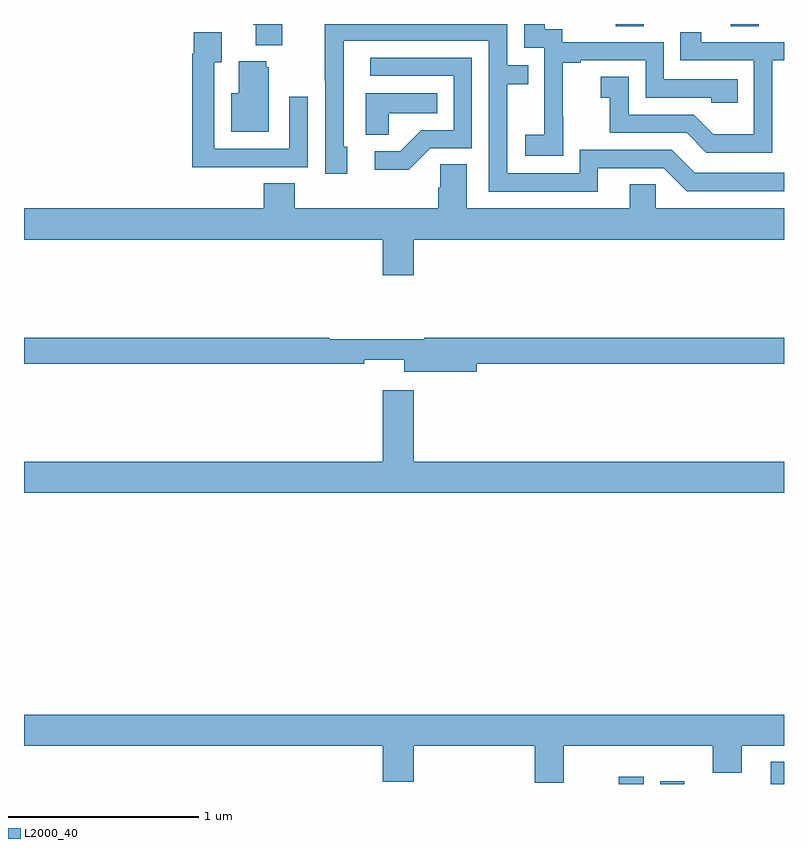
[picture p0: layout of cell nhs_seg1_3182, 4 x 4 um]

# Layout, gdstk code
import gdstk
lib = gdstk.Library(unit=1e-6, precision=1e-09)
def R(c, l, rs):  # rectangles x0, y0, x1, y1
    for r in rs: c.add(gdstk.rectangle(r[:2], r[2:], *l))
def P(c, l, *ps):  # polygons
    for p in ps: c.add(gdstk.Polygon(p, *l))
L2000_40 = (2000, 40)

nhs_seg1_3182 = lib.new_cell('nhs_seg1_3182')
R(nhs_seg1_3182, L2000_40, [(286.13,550.199,286.261,550.237), (286.349,550.199,286.474,550.213), (286.931,550.199,287,550.315), (286.115,554.188,286.263,554.199), (286.72,554.188,286.867,554.199)])
P(nhs_seg1_3182, L2000_40, [(285.837,553.711),(285.836,553.711),(285.836,553.995),(285.931,553.995),(285.931,554.007),(286.272,554.007),(286.272,553.812),(286.617,553.812),(286.617,553.785),(286.757,553.785),(286.757,553.908),(286.368,553.908),(286.368,554.103),(285.834,554.103),(285.834,554.172),(285.742,554.172),(285.742,554.199),(285.633,554.199),(285.633,554.073),(285.738,554.073),(285.738,553.844),(285.737,553.844),(285.737,553.615),(285.639,553.615),(285.639,553.505),(285.837,553.505)],
  [(286.021,553.44),(286.368,553.44),(286.488,553.32),(287,553.32),(287,553.416),(286.53,553.416),(286.41,553.536),(285.924,553.536),(285.924,553.413),(285.543,553.413),(285.543,553.882),(285.653,553.882),(285.653,553.983),(285.543,553.983),(285.543,554.199),(284.584,554.199),(284.584,553.903),(284.586,553.903),(284.586,553.41),(284.701,553.41),(284.701,553.554),(284.682,553.554),(284.682,554.112),(285.447,554.112),(285.447,553.317),(286.021,553.317)],
  [(284.359,554.199),(284.207,554.199),(284.207,554.194),(284.219,554.194),(284.219,554.087),(284.359,554.087)],
  [(284.177,553.446),(284.493,553.446),(284.493,553.816),(284.397,553.816),(284.397,553.542),(284.001,553.542),(284.001,553.999),(284.041,553.999),(284.041,554.155),(283.893,554.155),(283.893,554.042),(283.885,554.042),(283.885,553.445),(284.177,553.445)],
  [(286.938,554.007),(287,554.007),(287,554.103),(286.564,554.103),(286.564,554.155),(286.453,554.155),(286.453,554.007),(286.842,554.007),(286.842,553.618),(286.628,553.618),(286.524,553.722),(286.182,553.722),(286.182,553.921),(286.035,553.921),(286.035,553.811),(286.084,553.811),(286.084,553.626),(286.487,553.626),(286.592,553.521),(286.938,553.521)],
  [(285.138,553.545),(285.357,553.545),(285.357,554.022),(284.823,554.022),(284.823,553.926),(285.261,553.926),(285.261,553.641),(285.092,553.641),(284.981,553.53),(284.847,553.53),(284.847,553.433),(285.025,553.433)],
  [(284.287,553.971),(284.276,553.971),(284.276,554.002),(284.129,554.002),(284.129,553.834),(284.09,553.834),(284.09,553.631),(284.287,553.631)],
  [(284.919,553.73),(285.176,553.73),(285.176,553.834),(284.798,553.834),(284.798,553.615),(284.919,553.615)],
  [(285.052,553.064),(287,553.064),(287,553.228),(286.326,553.228),(286.326,553.355),(286.187,553.355),(286.187,553.228),(285.331,553.228),(285.331,553.46),(285.192,553.46),(285.192,553.337),(285.179,553.337),(285.179,553.228),(284.426,553.228),(284.426,553.361),(284.261,553.361),(284.261,553.228),(283,553.228),(283,553.064),(284.888,553.064),(284.888,552.876),(285.052,552.876)],
  [(285.382,552.412),(287,552.412),(287,552.548),(285.106,552.548),(285.106,552.541),(284.606,552.541),(284.606,552.548),(283,552.548),(283,552.412),(284.792,552.412),(284.792,552.431),(285.002,552.431),(285.002,552.37),(285.382,552.37)],
  [(287,551.896),(285.052,551.896),(285.052,552.271),(284.888,552.271),(284.888,551.896),(283,551.896),(283,551.732),(287,551.732)],
  [(285.841,550.4),(286.625,550.4),(286.625,550.259),(286.777,550.259),(286.777,550.4),(287,550.4),(287,550.564),(283,550.564),(283,550.4),(284.888,550.4),(284.888,550.212),(285.052,550.212),(285.052,550.4),(285.689,550.4),(285.689,550.206),(285.841,550.206)])

lib.write_gds('nhs_seg1_3182.gds')
